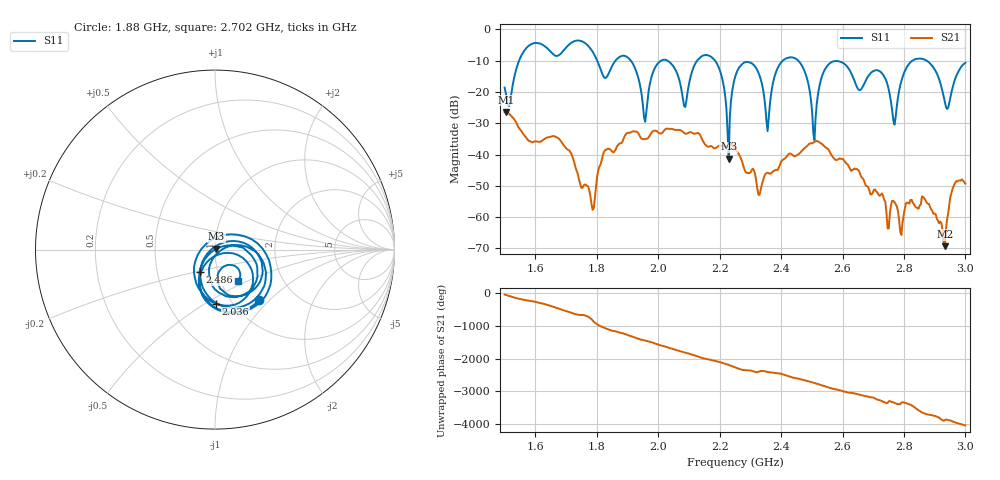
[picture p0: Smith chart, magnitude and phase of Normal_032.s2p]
# HZ S RI R 50
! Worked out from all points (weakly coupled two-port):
!   404 points, 1.5 GHz to 3 GHz, reference 50 ohm
!   highest |S21| = -26.44 dB at 1.504 GHz (marker M1); lowest = -69.3 dB at 2.933 GHz (marker M2)
!   lowest |S11| = -41.3 dB at 2.23 GHz (marker M3), VSWR 1.02, Z = 50.7 + j0.5 ohm
!   |S11| at or under -10 dB: 2.185 GHz to 2.406 GHz (221.3 MHz wide, 9.64 % of centre); 2.455 GHz to 2.828 GHz (372.8 MHz wide, 14.1 % of centre); 2.873 GHz to end of sweep (the widest 3 of 7)
!   S12 and S22 are empty: the file has one direction only
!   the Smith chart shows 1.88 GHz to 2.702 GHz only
!   S11 on the Smith chart (normalised r, x): 1.88 GHz: 1.33, -0.86; 2.036 GHz: 0.84, -0.56; 2.486 GHz: 0.82, -0.21; 2.702 GHz: 1.21, -0.44
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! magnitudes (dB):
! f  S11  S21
! 1.5 GHz  -18.6  -26.5
! 1.504 GHz  -20.4  -26.4
! 1.753 GHz  -3.9  -50.7
! 1.88 GHz  -8.6  -36.4
! 1.958 GHz  -29.5  -35.0
! 2.002 GHz  -10.6  -33.1
! 2.036 GHz  -10.4  -31.8
! 2.088 GHz  -24.8  -33.3
! 2.181 GHz  -9.6  -38.0
! 2.23 GHz  -41.3  -36.9
! 2.252 GHz  -14.8  -38.4
! 2.33 GHz  -14.8  -52.9
! 2.356 GHz  -32.5  -45.8
! 2.408 GHz  -9.8  -41.6
! 2.486 GHz  -16.5  -37.2
! 2.501 GHz  -26.6  -36.4
! 2.561 GHz  -10.7  -39.6
! 2.702 GHz  -13.3  -51.3
! 2.751 GHz  -19.3  -63.5
! 2.859 GHz  -9.4  -53.4
! 2.933 GHz  -23.2  -69.3
! 3 GHz  -10.7  -49.3
